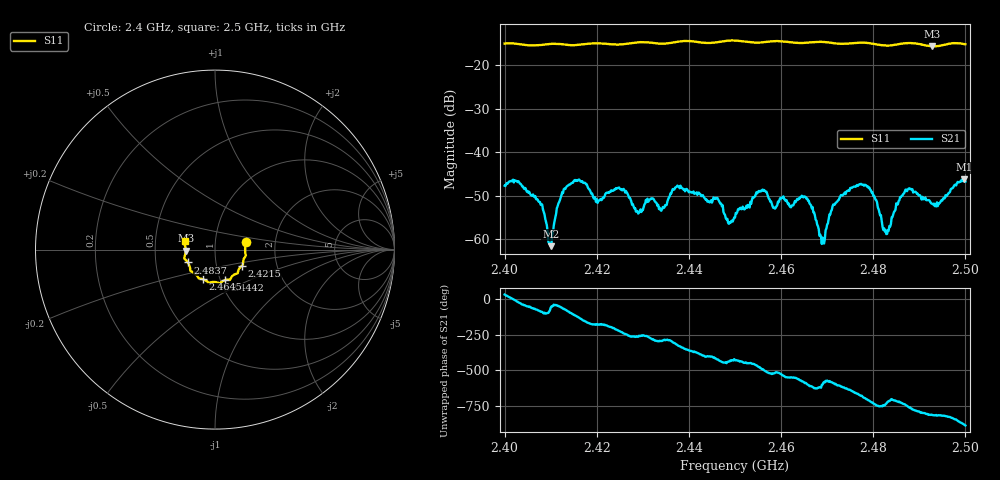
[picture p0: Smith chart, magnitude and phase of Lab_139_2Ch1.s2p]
# Hz S RI R 50
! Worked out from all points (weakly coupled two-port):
!   601 points, 2.4 GHz to 2.5 GHz, reference 50 ohm
!   highest |S21| = -46.27 dB at 2.4997 GHz (marker M1); lowest = -61.6 dB at 2.41 GHz (marker M2)
!   lowest |S11| = -15.7 dB at 2.4928 GHz (marker M3), VSWR 1.39, Z = 36 - j0.379 ohm
!   |S11| at or under -10 dB: start of sweep to end of sweep
!   S12 and S22 are empty: the file has one direction only
!   S11 on the Smith chart (normalised r, x): 2.4 GHz: 1.41, +0.12; 2.4215 GHz: 1.33, -0.25; 2.4442 GHz: 1.05, -0.37; 2.4645 GHz: 0.83, -0.29; 2.4837 GHz: 0.73, -0.11; 2.5 GHz: 0.71, +0.07
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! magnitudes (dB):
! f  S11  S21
! 2.4 GHz  -15.1  -47.7
! 2.4077 GHz  -15.4  -51.4
! 2.41 GHz  -15.2  -61.6
! 2.4127 GHz  -15.3  -49.4
! 2.4167 GHz  -15.3  -46.8
! 2.4215 GHz  -15.1  -50.5
! 2.4333 GHz  -15.1  -52.1
! 2.4377 GHz  -14.7  -47.9
! 2.4442 GHz  -15.0  -51.2
! 2.45 GHz  -14.4  -55.0
! 2.4555 GHz  -14.8  -48.9
! 2.4645 GHz  -15.0  -50.0
! 2.4667 GHz  -14.8  -52.9
! 2.469 GHz  -14.7  -59.6
! 2.4717 GHz  -15.0  -52.0
! 2.4778 GHz  -14.9  -47.5
! 2.4833 GHz  -15.6  -58.1
! 2.4837 GHz  -15.5  -57.1
! 2.4873 GHz  -15.0  -49.0
! 2.4928 GHz  -15.7  -51.9
! 2.4997 GHz  -15.2  -46.3
! 2.5 GHz  -15.3  -46.8
